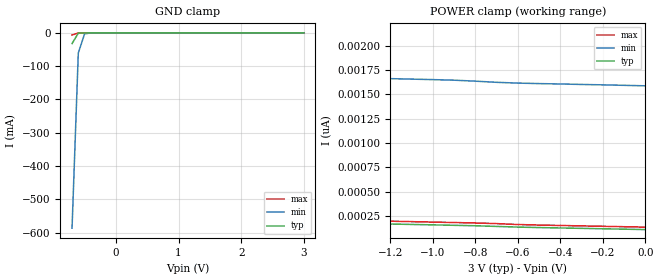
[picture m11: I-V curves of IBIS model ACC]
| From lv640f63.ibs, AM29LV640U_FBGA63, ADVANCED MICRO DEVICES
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|   Model ACC
[Model]   ACC
Model_type   Input
Vinl =   0.8000V
Vinh =   2.1000V
C_comp   8.0000pF   8.0000pF   8.0000pF
[Temperature Range]   27.0000   100.0000   0.000
[Pullup Reference]   3.0000V   2.7000V   3.6000V
[Pulldown Reference]   0.000V   0.000V   0.000V
[POWER Clamp Reference]   3.0000V   2.7000V   3.6000V
[GND Clamp Reference]   0.000V   0.000V   0.000V
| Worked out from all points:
|   GND clamp passes 1 mA (typ) near -0.60 V on its own axis
[GND_clamp]
| voltage   I(typ)   I(min)   I(max)
-700mV    -32.07mA   -586.5mA   -6.493mA
-600mV    -823.6uA   -60.34mA   -463.9uA
-500mV    -26.6uA    -2.958mA   -47.02uA
-300mV    -56.51nA   -6.076uA   -162.9nA
3V        108pA      1.603nA    107.9pA
[POWER_clamp]
| voltage   I(typ)   I(min)   I(max)
-3V       50.91uA    21.87uA    98.86uA
-1.9V     8.155nA    5.354nA    95.74nA
-1.8V     2.01nA     2.787nA    19.47nA
-1.7V     584.6pA    1.979nA    3.884nA
-1.6V     262.1pA    1.741nA    875.5pA
-1.5V     189.6pA    1.686nA    317.2pA
-1.4V     175.1pA    1.674nA    214.9pA
-1.3V     169.9pA    1.668nA    199.4pA
-900mV    152pA      1.647nA    180.6pA
-600mV    133.6pA    1.617nA    160.1pA
0V        108pA      1.589nA    133.2pA
